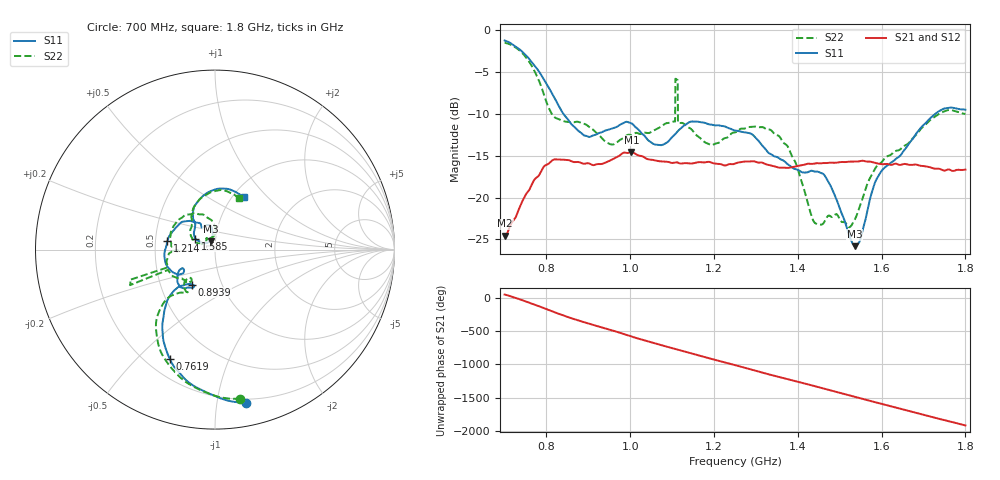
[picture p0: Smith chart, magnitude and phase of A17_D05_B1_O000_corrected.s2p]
! Created with skrf 1.9.0 (http://scikit-rf.org).
# Hz S RI R 50.0
!freq ReS11 ImS11 ReS21 ImS21 ReS12 ImS12 ReS22 ImS22
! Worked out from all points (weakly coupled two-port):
!   1601 points, 700 MHz to 1.8 GHz, reference 50 ohm
!   highest |S21| = -14.56 dB at 1.002 GHz (marker M1); lowest = -24.5 dB at 701.4 MHz (marker M2)
!   lowest |S11| = -25.8 dB at 1.536 GHz (marker M3), VSWR 1.11, Z = 47.5 + j4.35 ohm
!   |S11| at or under -10 dB: 840.5 MHz to 1.728 GHz (887.3 MHz wide, 69.1 % of centre)
!   |S22| runs from -23.5 to -1.5 dB; largest |S21 - S12| = 0.0034
!   S11 on the Smith chart (normalised r, x): 700 MHz: 0.17, -1.21; 761.9 MHz: 0.29, -0.63; 893.9 MHz: 0.72, -0.30; 1.214 GHz: 0.58, +0.06; 1.585 GHz: 0.80, +0.10; 1.8 GHz: 1.12, +0.74
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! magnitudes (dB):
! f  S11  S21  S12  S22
! 700 MHz  -1.2  -24.5  -24.3  -1.5
! 701.4 MHz  -1.2  -24.5  -24.2  -1.5
! 761.9 MHz  -3.6  -18.8  -18.7  -4.0
! 816.9 MHz  -7.9  -15.5  -15.6  -10.3
! 883.6 MHz  -12.3  -15.9  -15.8  -11.1
! 893.9 MHz  -12.6  -15.9  -16.0  -11.3
! 953 MHz  -11.8  -15.5  -15.5  -13.6
! 1.002 GHz  -11.1  -14.6  -14.7  -12.5
! 1.067 GHz  -13.7  -15.6  -15.6  -11.7
! 1.101 GHz  -12.7  -15.9  -15.8  -10.9
! 1.108 GHz  -12.4  -15.8  -15.8  -5.8
! 1.119 GHz  -11.8  -15.9  -15.8  -11.1
! 1.214 GHz  -11.4  -16.0  -16.0  -13.4
! 1.25 GHz  -12.0  -15.9  -15.9  -12.2
! 1.357 GHz  -15.3  -16.4  -16.4  -12.7
! 1.434 GHz  -16.8  -16.0  -15.9  -22.3
! 1.47 GHz  -17.9  -15.9  -15.9  -22.3
! 1.536 GHz  -25.8  -15.7  -15.7  -22.6
! 1.585 GHz  -18.0  -15.9  -15.9  -16.4
! 1.617 GHz  -16.0  -16.0  -16.0  -15.0
! 1.733 GHz  -9.8  -16.5  -16.6  -10.2
! 1.8 GHz  -9.5  -16.7  -16.6  -10.0
